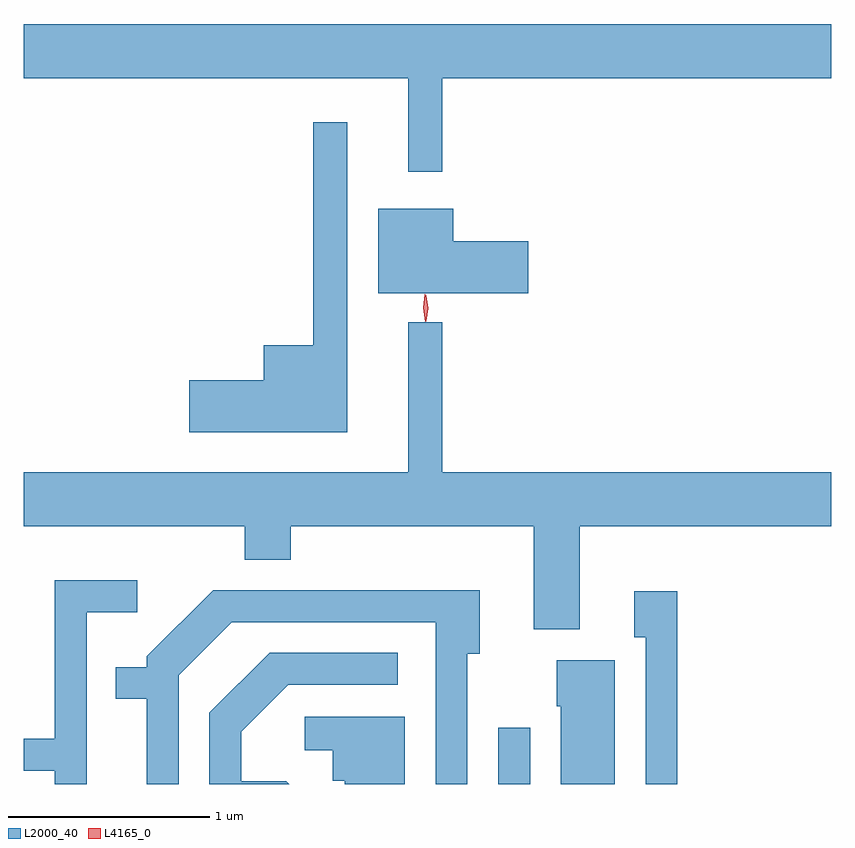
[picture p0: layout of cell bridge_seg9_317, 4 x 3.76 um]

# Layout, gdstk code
import gdstk
lib = gdstk.Library(unit=1e-6, precision=1e-09)
def R(c, l, rs):  # rectangles x0, y0, x1, y1
    for r in rs: c.add(gdstk.rectangle(r[:2], r[2:], *l))
def P(c, l, *ps):  # polygons
    for p in ps: c.add(gdstk.Polygon(p, *l))
L2000_40 = (2000, 40)
L4165_0 = (4165, 0)

bridge_seg9_317 = lib.new_cell('bridge_seg9_317')
R(bridge_seg9_317, L2000_40, [(667.856,2019.4,668.014,2019.678)])
P(bridge_seg9_317, L2000_40, [(667.579,2022.896),(669.506,2022.896),(669.506,2023.164),(665.506,2023.164),(665.506,2022.896),(667.411,2022.896),(667.411,2022.433),(667.579,2022.433)],
  [(667.109,2022.678),(666.941,2022.678),(666.941,2021.574),(666.696,2021.574),(666.696,2021.399),(666.326,2021.399),(666.326,2021.141),(667.109,2021.141)],
  [(668.004,2022.089),(667.634,2022.089),(667.634,2022.249),(667.261,2022.249),(667.261,2021.831),(668.004,2021.831)],
  [(668.259,2020.676),(669.506,2020.676),(669.506,2020.944),(667.579,2020.944),(667.579,2021.688),(667.411,2021.688),(667.411,2020.944),(665.506,2020.944),(665.506,2020.676),(666.601,2020.676),(666.601,2020.511),(666.829,2020.511),(666.829,2020.676),(668.031,2020.676),(668.031,2020.166),(668.259,2020.166)],
  [(665.819,2020.251),(666.068,2020.251),(666.068,2020.409),(665.661,2020.409),(665.661,2019.624),(665.506,2019.624),(665.506,2019.466),(665.661,2019.466),(665.661,2019.4),(665.819,2019.4)],
  [(666.274,2019.939),(666.537,2020.201),(667.546,2020.201),(667.546,2019.4),(667.704,2019.4),(667.704,2020.046),(667.764,2020.046),(667.764,2020.359),(666.444,2020.359),(666.116,2020.032),(666.116,2019.979),(665.963,2019.979),(665.963,2019.821),(666.116,2019.821),(666.116,2019.4),(666.274,2019.4)],
  [(668.744,2020.354),(668.531,2020.354),(668.531,2020.126),(668.586,2020.126),(668.586,2019.4),(668.744,2019.4)],
  [(666.807,2019.414),(666.584,2019.414),(666.584,2019.659),(666.817,2019.891),(667.358,2019.891),(667.358,2020.049),(666.724,2020.049),(666.426,2019.752),(666.426,2019.4),(666.821,2019.4)],
  [(668.434,2020.014),(668.146,2020.014),(668.146,2019.786),(668.166,2019.786),(668.166,2019.4),(668.434,2019.4)],
  [(667.394,2019.734),(666.898,2019.734),(666.898,2019.566),(667.036,2019.566),(667.036,2019.416),(667.096,2019.416),(667.096,2019.4),(667.394,2019.4)])
P(bridge_seg9_317, L4165_0, [(667.498,2021.693),(667.489,2021.756),(667.498,2021.819),(667.499,2021.82),(667.499,2021.819),(667.509,2021.756),(667.499,2021.693),(667.499,2021.693)],
  [(667.494,2021.69),(667.484,2021.758),(667.493,2021.826),(667.494,2021.826),(667.494,2021.826),(667.504,2021.758),(667.495,2021.69),(667.495,2021.69)])

lib.write_gds('bridge_seg9_317.gds')
